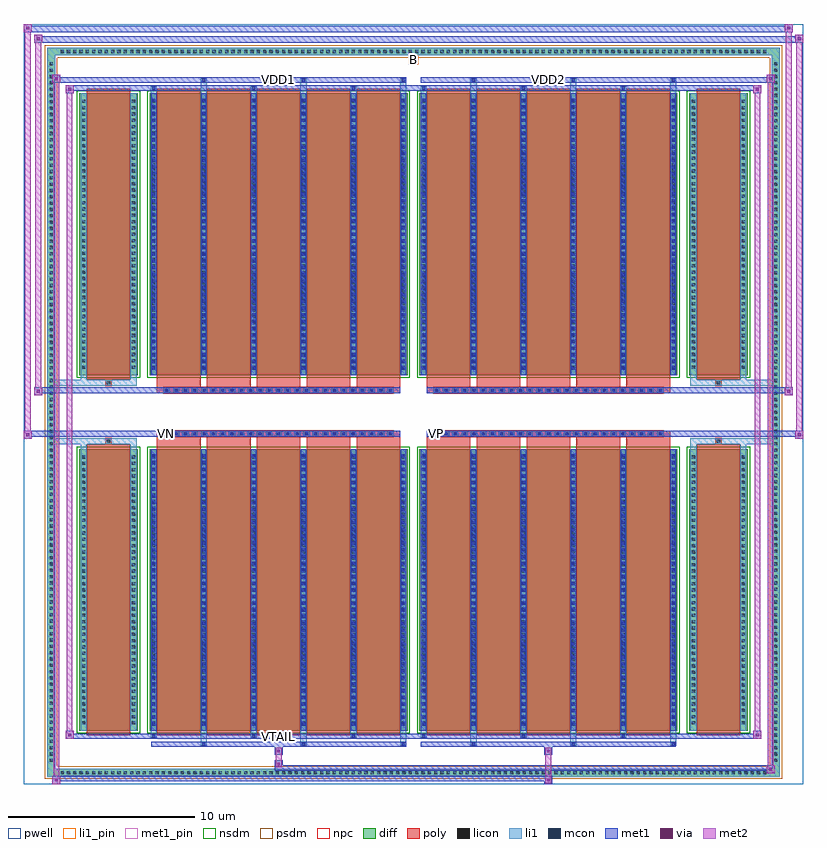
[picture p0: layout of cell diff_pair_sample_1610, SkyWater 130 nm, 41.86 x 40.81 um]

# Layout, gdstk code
import gdstk
lib = gdstk.Library(unit=1e-6, precision=5e-09)
def R(c, l, rs):  # rectangles x0, y0, x1, y1
    for r in rs: c.add(gdstk.rectangle(r[:2], r[2:], *l))
def A(c, l, x, y, w, h, nx, ny, dx, dy):  # array of equal rectangles
    R(c, l, [(x+i*dx, y+j*dy, x+i*dx+w, y+j*dy+h) for i in range(nx) for j in range(ny)])
def P(c, l, *ps):  # polygons
    for p in ps: c.add(gdstk.Polygon(p, *l))
pwell = (64, 44)
diff = (65, 20)
poly = (66, 20)
licon = (66, 44)
li1_pin = (67, 16)
li1 = (67, 20)
mcon = (67, 44)
met1_pin = (68, 16)
met1 = (68, 20)
via = (68, 44)
met2 = (69, 20)
nsdm = (93, 44)
psdm = (94, 20)
npc = (95, 20)

diff_pair_sample_1610 = lib.new_cell('diff_pair_sample_1610')
R(diff_pair_sample_1610, pwell, [(-20.93,-19.97,20.93,20.84), (-18.25,-18.16,-0.01,-0.8), (0.01,-18.16,18.25,-0.8), (-18.25,0.8,-0.01,18.16), (0.01,0.8,18.25,18.16)])
A(diff_pair_sample_1610, diff, -19.075, -19.57, 0.41, 0.41, 112, 2, 0.34, 38.73)
A(diff_pair_sample_1610, diff, -19.66, -18.905, 0.41, 0.41, 1, 111, 0, 0.34)
A(diff_pair_sample_1610, diff, 19.25, -18.905, 0.41, 0.41, 1, 111, 0, 0.34)
R(diff_pair_sample_1610, diff, [(-19.075,-19.57,19.075,-19.16), (-19.66,-18.905,-19.25,18.905), (19.25,-18.905,19.66,18.905), (-17.94,-17.115,-14.81,-1.985), (-14.17,-17.115,-0.32,-1.985), (0.32,-17.115,14.17,-1.985), (14.81,-17.115,17.94,-1.985), (-17.94,1.985,-14.81,17.115), (-14.17,1.985,-0.32,17.115), (0.32,1.985,14.17,17.115), (14.81,1.985,17.94,17.115), (-19.075,19.16,19.075,19.57)])
P(diff_pair_sample_1610, diff, [(19.66,19.57),(-19.66,19.57),(-19.66,-19.16),(-19.25,-19.16),(-19.25,19.16),(19.25,19.16),(19.25,-19.16),(-19.25,-19.16),(-19.66,-19.16),(-19.66,-19.57),(19.66,-19.57)])
A(diff_pair_sample_1610, poly, -13.78, -17.365, 2.35, 15.63, 5, 2, 2.68, 19.1)
A(diff_pair_sample_1610, poly, 0.71, -17.365, 2.35, 15.63, 5, 2, 2.68, 19.1)
A(diff_pair_sample_1610, poly, -13.78, -1.735, 2.35, 0.405, 5, 2, 2.68, 3.065)
A(diff_pair_sample_1610, poly, 0.71, -1.735, 2.35, 0.405, 5, 2, 2.68, 3.065)
A(diff_pair_sample_1610, poly, -13.41, -1.33, 0.33, 0.33, 25, 2, 0.5, 2.33)
A(diff_pair_sample_1610, poly, 1.08, -1.33, 0.33, 0.33, 25, 2, 0.5, 2.33)
R(diff_pair_sample_1610, poly, [(-17.55,-17.365,-15.2,-1.735), (15.2,-17.365,17.55,-1.735), (-16.54,-1.735,-16.21,-1.405), (-16.54,-1.735,-16.21,-1.405), (16.21,-1.735,16.54,-1.405), (16.21,-1.735,16.54,-1.405), (-13.78,-1.33,-0.71,-1), (0.71,-1.33,13.78,-1), (-13.78,1,-0.71,1.33), (0.71,1,13.78,1.33), (-16.54,1.405,-16.21,1.735), (-16.54,1.405,-16.21,1.735), (16.21,1.405,16.54,1.735), (16.21,1.405,16.54,1.735), (-17.55,1.735,-15.2,17.365), (15.2,1.735,17.55,17.365)])
A(diff_pair_sample_1610, licon, -18.955, -19.45, 0.17, 0.17, 112, 2, 0.34, 38.73)
A(diff_pair_sample_1610, licon, -19.54, -18.785, 0.17, 0.17, 1, 111, 0, 0.34)
A(diff_pair_sample_1610, licon, 19.37, -18.785, 0.17, 0.17, 1, 111, 0, 0.34)
A(diff_pair_sample_1610, licon, -17.8, -16.775, 0.17, 0.17, 1, 43, 0, 0.34)
A(diff_pair_sample_1610, licon, -15.12, -16.775, 0.17, 0.17, 1, 43, 0, 0.34)
A(diff_pair_sample_1610, licon, -14.03, -16.775, 0.17, 0.17, 6, 43, 2.68, 0.34)
A(diff_pair_sample_1610, licon, 0.46, -16.775, 0.17, 0.17, 6, 43, 2.68, 0.34)
A(diff_pair_sample_1610, licon, 14.95, -16.775, 0.17, 0.17, 1, 43, 0, 0.34)
A(diff_pair_sample_1610, licon, 17.63, -16.775, 0.17, 0.17, 1, 43, 0, 0.34)
A(diff_pair_sample_1610, licon, -13.33, -1.25, 0.17, 0.17, 25, 2, 0.5, 2.33)
A(diff_pair_sample_1610, licon, 1.16, -1.25, 0.17, 0.17, 25, 2, 0.5, 2.33)
A(diff_pair_sample_1610, licon, -17.8, 2.325, 0.17, 0.17, 1, 43, 0, 0.34)
A(diff_pair_sample_1610, licon, -15.12, 2.325, 0.17, 0.17, 1, 43, 0, 0.34)
A(diff_pair_sample_1610, licon, -14.03, 2.325, 0.17, 0.17, 6, 43, 2.68, 0.34)
A(diff_pair_sample_1610, licon, 0.46, 2.325, 0.17, 0.17, 6, 43, 2.68, 0.34)
A(diff_pair_sample_1610, licon, 14.95, 2.325, 0.17, 0.17, 1, 43, 0, 0.34)
A(diff_pair_sample_1610, licon, 17.63, 2.325, 0.17, 0.17, 1, 43, 0, 0.34)
R(diff_pair_sample_1610, licon, [(-16.46,-1.655,-16.29,-1.485), (16.29,-1.655,16.46,-1.485), (-16.46,1.485,-16.29,1.655), (16.29,1.485,16.46,1.655)])
R(diff_pair_sample_1610, li1_pin, [(-0.25,18.66,0.25,19.16)])
A(diff_pair_sample_1610, li1, -19.035, -19.53, 0.33, 0.33, 112, 2, 0.34, 38.73)
A(diff_pair_sample_1610, li1, -19.62, -18.865, 0.33, 0.33, 1, 111, 0, 0.34)
A(diff_pair_sample_1610, li1, 19.29, -18.865, 0.33, 0.33, 1, 111, 0, 0.34)
A(diff_pair_sample_1610, li1, -11.43, -17.92, 0.33, 0.805, 3, 2, 5.36, 35.035)
A(diff_pair_sample_1610, li1, -11.35, -17.92, 0.17, 0.17, 3, 2, 5.36, 35.67)
A(diff_pair_sample_1610, li1, 3.06, -17.92, 0.33, 0.805, 3, 2, 5.36, 35.035)
A(diff_pair_sample_1610, li1, 3.14, -17.92, 0.17, 0.17, 3, 2, 5.36, 35.67)
A(diff_pair_sample_1610, li1, -14.11, -17.49, 0.33, 0.375, 3, 2, 5.36, 34.605)
A(diff_pair_sample_1610, li1, -14.03, -17.49, 0.17, 0.17, 3, 2, 5.36, 34.81)
A(diff_pair_sample_1610, li1, 0.38, -17.49, 0.33, 0.375, 3, 2, 5.36, 34.605)
A(diff_pair_sample_1610, li1, 0.46, -17.49, 0.17, 0.17, 3, 2, 5.36, 34.81)
A(diff_pair_sample_1610, li1, -14.11, -17.115, 0.33, 15.13, 6, 2, 2.68, 19.1)
A(diff_pair_sample_1610, li1, 0.38, -17.115, 0.33, 15.13, 6, 2, 2.68, 19.1)
A(diff_pair_sample_1610, li1, -17.88, -16.855, 0.33, 0.33, 1, 43, 0, 0.34)
A(diff_pair_sample_1610, li1, -15.2, -16.855, 0.33, 0.33, 1, 43, 0, 0.34)
A(diff_pair_sample_1610, li1, -14.11, -16.855, 0.33, 0.33, 6, 43, 2.68, 0.34)
A(diff_pair_sample_1610, li1, 0.38, -16.855, 0.33, 0.33, 6, 43, 2.68, 0.34)
A(diff_pair_sample_1610, li1, 14.87, -16.855, 0.33, 0.33, 1, 43, 0, 0.34)
A(diff_pair_sample_1610, li1, 17.55, -16.855, 0.33, 0.33, 1, 43, 0, 0.34)
A(diff_pair_sample_1610, li1, -14.03, -16.835, 0.17, 0.17, 6, 41, 2.68, 0.36)
A(diff_pair_sample_1610, li1, -14.03, -16.835, 0.17, 14.57, 6, 2, 2.68, 19.1)
A(diff_pair_sample_1610, li1, 0.46, -16.835, 0.17, 0.17, 6, 41, 2.68, 0.36)
A(diff_pair_sample_1610, li1, 0.46, -16.835, 0.17, 14.57, 6, 2, 2.68, 19.1)
A(diff_pair_sample_1610, li1, -13.41, -1.33, 0.33, 0.33, 25, 2, 0.5, 2.33)
A(diff_pair_sample_1610, li1, 1.08, -1.33, 0.33, 0.33, 25, 2, 0.5, 2.33)
A(diff_pair_sample_1610, li1, -17.88, 2.245, 0.33, 0.33, 1, 43, 0, 0.34)
A(diff_pair_sample_1610, li1, -15.2, 2.245, 0.33, 0.33, 1, 43, 0, 0.34)
A(diff_pair_sample_1610, li1, -14.11, 2.245, 0.33, 0.33, 6, 43, 2.68, 0.34)
A(diff_pair_sample_1610, li1, 0.38, 2.245, 0.33, 0.33, 6, 43, 2.68, 0.34)
A(diff_pair_sample_1610, li1, 14.87, 2.245, 0.33, 0.33, 1, 43, 0, 0.34)
A(diff_pair_sample_1610, li1, 17.55, 2.245, 0.33, 0.33, 1, 43, 0, 0.34)
A(diff_pair_sample_1610, li1, -14.03, 2.265, 0.17, 0.17, 6, 41, 2.68, 0.36)
A(diff_pair_sample_1610, li1, 0.46, 2.265, 0.17, 0.17, 6, 41, 2.68, 0.36)
R(diff_pair_sample_1610, li1, [(-19.66,-19.57,-19.25,-19.16), (-19.66,-19.57,-19.25,-19.16), (-19.25,-19.57,19.25,-19.16), (19.25,-19.57,19.66,-19.16), (19.25,-19.57,19.66,-19.16), (-19.66,-19.16,-19.25,19.16), (19.25,-19.16,19.66,19.16), (-17.88,-17.115,-17.55,-1.985), (-15.2,-17.115,-14.87,-1.985), (14.87,-17.115,15.2,-1.985), (17.55,-17.115,17.88,-1.985), (-17.88,-1.985,-17.55,-1.405), (-15.2,-1.985,-14.87,-1.405), (14.87,-1.985,15.2,-1.405), (17.55,-1.985,17.88,-1.405), (-19.66,-1.735,-16.54,-1.405), (-17.88,-1.735,-16.54,-1.405), (-16.54,-1.735,-16.21,-1.405), (-16.21,-1.735,-14.87,-1.405), (14.87,-1.735,16.21,-1.405), (16.21,-1.735,16.54,-1.405), (16.21,-1.735,19.66,-1.405), (16.54,-1.735,17.88,-1.405), (-19.66,1.405,-16.54,1.735), (-17.88,1.405,-16.54,1.735), (-17.88,1.405,-17.55,1.985), (-16.54,1.405,-16.21,1.735), (-16.21,1.405,-14.87,1.735), (-15.2,1.405,-14.87,1.985), (14.87,1.405,16.21,1.735), (14.87,1.405,15.2,1.985), (16.21,1.405,16.54,1.735), (16.21,1.405,19.66,1.735), (16.54,1.405,17.88,1.735), (17.55,1.405,17.88,1.985), (-17.88,1.985,-17.55,17.115), (-15.2,1.985,-14.87,17.115), (14.87,1.985,15.2,17.115), (17.55,1.985,17.88,17.115), (-19.66,19.16,-19.25,19.57), (-19.66,19.16,-19.25,19.57), (-19.25,19.16,19.25,19.57), (19.25,19.16,19.66,19.57), (19.25,19.16,19.66,19.57)])
A(diff_pair_sample_1610, mcon, -11.35, -17.92, 0.17, 0.17, 3, 2, 5.36, 35.67)
A(diff_pair_sample_1610, mcon, 3.14, -17.92, 0.17, 0.17, 3, 2, 5.36, 35.67)
A(diff_pair_sample_1610, mcon, -14.03, -17.49, 0.17, 0.17, 3, 2, 5.36, 34.81)
A(diff_pair_sample_1610, mcon, 0.46, -17.49, 0.17, 0.17, 3, 2, 5.36, 34.81)
A(diff_pair_sample_1610, mcon, -14.03, -16.835, 0.17, 0.17, 6, 41, 2.68, 0.36)
A(diff_pair_sample_1610, mcon, 0.46, -16.835, 0.17, 0.17, 6, 41, 2.68, 0.36)
A(diff_pair_sample_1610, mcon, -13.33, -1.25, 0.17, 0.17, 25, 2, 0.5, 2.33)
A(diff_pair_sample_1610, mcon, 1.16, -1.25, 0.17, 0.17, 25, 2, 0.5, 2.33)
A(diff_pair_sample_1610, mcon, -14.03, 2.265, 0.17, 0.17, 6, 41, 2.68, 0.36)
A(diff_pair_sample_1610, mcon, 0.46, 2.265, 0.17, 0.17, 6, 41, 2.68, 0.36)
R(diff_pair_sample_1610, met1_pin, [(-7.38,-17.53,-7.11,-17.26), (-13.38,-1.29,-13.11,-1.02), (1.11,-1.29,1.38,-1.02), (-7.38,17.71,-7.11,17.98), (7.11,17.71,7.38,17.98)])
A(diff_pair_sample_1610, met1, -11.41, -17.98, 0.29, 0.29, 3, 2, 5.36, 35.67)
A(diff_pair_sample_1610, met1, 3.08, -17.98, 0.29, 0.29, 3, 2, 5.36, 35.67)
A(diff_pair_sample_1610, met1, -14.09, -17.55, 0.29, 0.29, 3, 2, 5.36, 34.81)
A(diff_pair_sample_1610, met1, 0.4, -17.55, 0.29, 0.29, 3, 2, 5.36, 34.81)
A(diff_pair_sample_1610, met1, -14.09, -17.115, 0.29, 15.13, 6, 2, 2.68, 19.1)
A(diff_pair_sample_1610, met1, 0.4, -17.115, 0.29, 15.13, 6, 2, 2.68, 19.1)
A(diff_pair_sample_1610, met1, -14.09, -16.895, 0.29, 0.29, 6, 41, 2.68, 0.36)
A(diff_pair_sample_1610, met1, 0.4, -16.895, 0.29, 0.29, 6, 41, 2.68, 0.36)
A(diff_pair_sample_1610, met1, -13.39, -1.31, 0.29, 0.29, 25, 2, 0.5, 2.33)
A(diff_pair_sample_1610, met1, 1.1, -1.31, 0.29, 0.29, 25, 2, 0.5, 2.33)
A(diff_pair_sample_1610, met1, -14.09, 2.205, 0.29, 0.29, 6, 41, 2.68, 0.36)
A(diff_pair_sample_1610, met1, 0.4, 2.205, 0.29, 0.29, 6, 41, 2.68, 0.36)
R(diff_pair_sample_1610, met1, [(-19.39,-19.97,-18.96,-19.54), (7.03,-19.97,7.46,-19.54), (-19.39,-19.83,7.46,-19.54), (18.96,-19.4,19.39,-18.97), (-7.46,-19.26,19.39,-18.97), (-7.46,-19.12,-7.03,-18.69), (-7.46,-18.41,-7.03,-17.98), (7.03,-18.41,7.46,-17.98), (-14.09,-17.98,-0.4,-17.69), (0.4,-17.98,14.09,-17.69), (-18.68,-17.55,-18.25,-17.12), (-18.68,-17.55,-14.09,-17.26), (-14.09,-17.55,-0.4,-17.26), (-0.4,-17.55,0.4,-17.26), (0.4,-17.55,14.09,-17.26), (14.09,-17.55,18.68,-17.26), (18.25,-17.55,18.68,-17.12), (-20.93,-1.43,-20.5,-1), (20.5,-1.43,20.93,-1), (-20.93,-1.33,-0.71,-1), (-13.78,-1.33,-0.71,-1), (0.71,-1.33,13.78,-1), (0.71,-1.33,20.93,-1), (-20.36,0.9,-19.93,1.33), (19.93,0.9,20.36,1.33), (-20.36,1,-13.78,1.33), (-13.78,1,-0.71,1.33), (0.71,1,13.78,1.33), (13.78,1,20.36,1.33), (-18.68,17.12,-18.25,17.55), (18.25,17.12,18.68,17.55), (-18.68,17.26,-14.09,17.55), (-14.09,17.26,-0.4,17.55), (-0.4,17.26,0.4,17.55), (0.4,17.26,14.09,17.55), (14.09,17.26,18.68,17.55), (-19.39,17.69,-18.96,18.12), (-19.39,17.69,-14.09,17.98), (-14.09,17.69,-0.4,17.98), (0.4,17.69,14.09,17.98), (14.09,17.69,19.39,17.98), (18.96,17.69,19.39,18.12), (-20.36,19.84,-19.93,20.27), (-20.36,19.84,-18.25,20.17), (-18.25,19.84,18.25,20.17), (18.25,19.84,20.93,20.17), (20.5,19.84,20.93,20.27), (-20.93,20.41,-20.5,20.84), (-20.93,20.41,-18.25,20.74), (-18.25,20.41,18.25,20.74), (18.25,20.41,20.36,20.74), (19.93,20.41,20.36,20.84)])
R(diff_pair_sample_1610, via, [(-19.25,-19.83,-19.1,-19.68), (7.17,-19.83,7.32,-19.68), (19.1,-19.26,19.25,-19.11), (-7.32,-18.98,-7.17,-18.83), (-7.32,-18.27,-7.17,-18.12), (7.17,-18.27,7.32,-18.12), (-18.54,-17.41,-18.39,-17.26), (18.39,-17.41,18.54,-17.26), (-20.79,-1.29,-20.64,-1.14), (20.64,-1.29,20.79,-1.14), (-20.22,1.04,-20.07,1.19), (20.07,1.04,20.22,1.19), (-18.54,17.26,-18.39,17.41), (18.39,17.26,18.54,17.41), (-19.25,17.83,-19.1,17.98), (19.1,17.83,19.25,17.98), (-20.22,19.98,-20.07,20.13), (20.64,19.98,20.79,20.13), (-20.79,20.55,-20.64,20.7), (20.07,20.55,20.22,20.7)])
R(diff_pair_sample_1610, met2, [(-19.39,-19.97,-18.96,-19.54), (-19.32,-19.97,-19.03,18.12), (-19.03,-19.97,-18.96,-19.54), (-19.34,-19.92,-19.01,-19.59), (7.08,-19.92,7.41,-19.59), (7.08,-19.59,7.41,-18.36), (18.96,-19.4,19.39,-18.97), (19.03,-19.4,19.32,18.12), (19.32,-19.4,19.39,-18.97), (19.01,-19.35,19.34,-19.02), (-7.41,-19.07,-7.08,-18.74), (-7.41,-18.74,-7.08,-18.36), (-7.41,-18.36,-7.08,-18.03), (7.08,-18.36,7.41,-18.03), (-18.68,-17.55,-18.25,-17.12), (-18.61,-17.55,-18.32,17.55), (-18.32,-17.55,-18.25,-17.12), (18.25,-17.55,18.68,-17.12), (18.32,-17.55,18.61,17.55), (18.61,-17.55,18.68,-17.12), (-18.63,-17.5,-18.3,-17.17), (18.3,-17.5,18.63,-17.17), (-20.93,-1.43,-20.5,-1), (-20.88,-1.43,-20.55,20.84), (-20.55,-1.43,-20.5,-1), (20.5,-1.43,20.93,-1), (20.55,-1.43,20.88,20.27), (20.88,-1.43,20.93,-1), (-20.88,-1.38,-20.55,-1.05), (20.55,-1.38,20.88,-1.05), (-20.36,0.9,-19.93,1.33), (-20.31,0.9,-19.98,20.27), (-19.98,0.9,-19.93,1.33), (19.93,0.9,20.36,1.33), (19.98,0.9,20.31,20.84), (20.31,0.9,20.36,1.33), (-20.31,0.95,-19.98,1.28), (19.98,0.95,20.31,1.28), (-18.68,17.12,-18.25,17.55), (-18.32,17.12,-18.25,17.55), (18.25,17.12,18.68,17.55), (18.61,17.12,18.68,17.55), (-18.63,17.17,-18.3,17.5), (18.3,17.17,18.63,17.5), (-19.39,17.69,-18.96,18.12), (-19.03,17.69,-18.96,18.12), (18.96,17.69,19.39,18.12), (19.32,17.69,19.39,18.12), (-19.34,17.74,-19.01,18.07), (19.01,17.74,19.34,18.07), (-20.36,19.84,-19.93,20.27), (-19.98,19.84,-19.93,20.27), (20.5,19.84,20.93,20.27), (20.88,19.84,20.93,20.27), (-20.31,19.89,-19.98,20.22), (20.55,19.89,20.88,20.22), (-20.93,20.41,-20.5,20.84), (-20.55,20.41,-20.5,20.84), (19.93,20.41,20.36,20.84), (20.31,20.41,20.36,20.84), (-20.88,20.46,-20.55,20.79), (19.98,20.46,20.31,20.79)])
R(diff_pair_sample_1610, nsdm, [(-18.07,-17.245,-14.68,-1.855), (-14.3,-17.245,-0.19,-1.855), (0.19,-17.245,14.3,-1.855), (14.68,-17.245,18.07,-1.855), (-18.07,1.855,-14.68,17.245), (-14.3,1.855,-0.19,17.245), (0.19,1.855,14.3,17.245), (14.68,1.855,18.07,17.245)])
P(diff_pair_sample_1610, psdm, [(19.79,19.7),(-19.79,19.7),(-19.79,-19.03),(-19.12,-19.03),(-19.12,19.03),(19.12,19.03),(19.12,-19.03),(-19.12,-19.03),(-19.79,-19.03),(-19.79,-19.7),(19.79,-19.7)])
A(diff_pair_sample_1610, npc, -13.43, -1.35, 0.37, 0.37, 25, 2, 0.5, 2.33)
A(diff_pair_sample_1610, npc, 1.06, -1.35, 0.37, 0.37, 25, 2, 0.5, 2.33)
R(diff_pair_sample_1610, npc, [(-16.56,-1.755,-16.19,-1.385), (16.19,-1.755,16.56,-1.385), (-13.43,-1.35,-12.56,-0.98), (-13.43,-1.35,-12.56,-0.98), (-12.93,-1.35,-12.06,-0.98), (-12.93,-1.35,-12.06,-0.98), (-12.43,-1.35,-11.56,-0.98), (-12.43,-1.35,-11.56,-0.98), (-11.93,-1.35,-11.06,-0.98), (-11.93,-1.35,-11.06,-0.98), (-11.43,-1.35,-10.56,-0.98), (-11.43,-1.35,-10.56,-0.98), (-10.93,-1.35,-10.06,-0.98), (-10.93,-1.35,-10.06,-0.98), (-10.43,-1.35,-9.56,-0.98), (-10.43,-1.35,-9.56,-0.98), (-9.93,-1.35,-9.06,-0.98), (-9.93,-1.35,-9.06,-0.98), (-9.43,-1.35,-8.56,-0.98), (-9.43,-1.35,-8.56,-0.98), (-8.93,-1.35,-8.06,-0.98), (-8.93,-1.35,-8.06,-0.98), (-8.43,-1.35,-7.56,-0.98), (-8.43,-1.35,-7.56,-0.98), (-7.93,-1.35,-7.06,-0.98), (-7.93,-1.35,-7.06,-0.98), (-7.43,-1.35,-6.56,-0.98), (-7.43,-1.35,-6.56,-0.98), (-6.93,-1.35,-6.06,-0.98), (-6.93,-1.35,-6.06,-0.98), (-6.43,-1.35,-5.56,-0.98), (-6.43,-1.35,-5.56,-0.98), (-5.93,-1.35,-5.06,-0.98), (-5.93,-1.35,-5.06,-0.98), (-5.43,-1.35,-4.56,-0.98), (-5.43,-1.35,-4.56,-0.98), (-4.93,-1.35,-4.06,-0.98), (-4.93,-1.35,-4.06,-0.98), (-4.43,-1.35,-3.56,-0.98), (-4.43,-1.35,-3.56,-0.98), (-3.93,-1.35,-3.06,-0.98), (-3.93,-1.35,-3.06,-0.98), (-3.43,-1.35,-2.56,-0.98), (-3.43,-1.35,-2.56,-0.98), (-2.93,-1.35,-2.06,-0.98), (-2.93,-1.35,-2.06,-0.98), (-2.43,-1.35,-1.56,-0.98), (-2.43,-1.35,-1.56,-0.98), (-1.93,-1.35,-1.06,-0.98), (-1.93,-1.35,-1.06,-0.98), (1.06,-1.35,1.93,-0.98), (1.06,-1.35,1.93,-0.98), (1.56,-1.35,2.43,-0.98), (1.56,-1.35,2.43,-0.98), (2.06,-1.35,2.93,-0.98), (2.06,-1.35,2.93,-0.98), (2.56,-1.35,3.43,-0.98), (2.56,-1.35,3.43,-0.98), (3.06,-1.35,3.93,-0.98), (3.06,-1.35,3.93,-0.98), (3.56,-1.35,4.43,-0.98), (3.56,-1.35,4.43,-0.98), (4.06,-1.35,4.93,-0.98), (4.06,-1.35,4.93,-0.98), (4.56,-1.35,5.43,-0.98), (4.56,-1.35,5.43,-0.98), (5.06,-1.35,5.93,-0.98), (5.06,-1.35,5.93,-0.98), (5.56,-1.35,6.43,-0.98), (5.56,-1.35,6.43,-0.98), (6.06,-1.35,6.93,-0.98), (6.06,-1.35,6.93,-0.98), (6.56,-1.35,7.43,-0.98), (6.56,-1.35,7.43,-0.98), (7.06,-1.35,7.93,-0.98), (7.06,-1.35,7.93,-0.98), (7.56,-1.35,8.43,-0.98), (7.56,-1.35,8.43,-0.98), (8.06,-1.35,8.93,-0.98), (8.06,-1.35,8.93,-0.98), (8.56,-1.35,9.43,-0.98), (8.56,-1.35,9.43,-0.98), (9.06,-1.35,9.93,-0.98), (9.06,-1.35,9.93,-0.98), (9.56,-1.35,10.43,-0.98), (9.56,-1.35,10.43,-0.98), (10.06,-1.35,10.93,-0.98), (10.06,-1.35,10.93,-0.98), (10.56,-1.35,11.43,-0.98), (10.56,-1.35,11.43,-0.98), (11.06,-1.35,11.93,-0.98), (11.06,-1.35,11.93,-0.98), (11.56,-1.35,12.43,-0.98), (11.56,-1.35,12.43,-0.98), (12.06,-1.35,12.93,-0.98), (12.06,-1.35,12.93,-0.98), (12.56,-1.35,13.43,-0.98), (12.56,-1.35,13.43,-0.98), (-13.43,0.98,-12.56,1.35), (-13.43,0.98,-12.56,1.35), (-12.93,0.98,-12.06,1.35), (-12.93,0.98,-12.06,1.35), (-12.43,0.98,-11.56,1.35), (-12.43,0.98,-11.56,1.35), (-11.93,0.98,-11.06,1.35), (-11.93,0.98,-11.06,1.35), (-11.43,0.98,-10.56,1.35), (-11.43,0.98,-10.56,1.35), (-10.93,0.98,-10.06,1.35), (-10.93,0.98,-10.06,1.35), (-10.43,0.98,-9.56,1.35), (-10.43,0.98,-9.56,1.35), (-9.93,0.98,-9.06,1.35), (-9.93,0.98,-9.06,1.35), (-9.43,0.98,-8.56,1.35), (-9.43,0.98,-8.56,1.35), (-8.93,0.98,-8.06,1.35), (-8.93,0.98,-8.06,1.35), (-8.43,0.98,-7.56,1.35), (-8.43,0.98,-7.56,1.35), (-7.93,0.98,-7.06,1.35), (-7.93,0.98,-7.06,1.35), (-7.43,0.98,-6.56,1.35), (-7.43,0.98,-6.56,1.35), (-6.93,0.98,-6.06,1.35), (-6.93,0.98,-6.06,1.35), (-6.43,0.98,-5.56,1.35), (-6.43,0.98,-5.56,1.35), (-5.93,0.98,-5.06,1.35), (-5.93,0.98,-5.06,1.35), (-5.43,0.98,-4.56,1.35), (-5.43,0.98,-4.56,1.35), (-4.93,0.98,-4.06,1.35), (-4.93,0.98,-4.06,1.35), (-4.43,0.98,-3.56,1.35), (-4.43,0.98,-3.56,1.35), (-3.93,0.98,-3.06,1.35), (-3.93,0.98,-3.06,1.35), (-3.43,0.98,-2.56,1.35), (-3.43,0.98,-2.56,1.35), (-2.93,0.98,-2.06,1.35), (-2.93,0.98,-2.06,1.35), (-2.43,0.98,-1.56,1.35), (-2.43,0.98,-1.56,1.35), (-1.93,0.98,-1.06,1.35), (-1.93,0.98,-1.06,1.35), (1.06,0.98,1.93,1.35), (1.06,0.98,1.93,1.35), (1.56,0.98,2.43,1.35), (1.56,0.98,2.43,1.35), (2.06,0.98,2.93,1.35), (2.06,0.98,2.93,1.35), (2.56,0.98,3.43,1.35), (2.56,0.98,3.43,1.35), (3.06,0.98,3.93,1.35), (3.06,0.98,3.93,1.35), (3.56,0.98,4.43,1.35), (3.56,0.98,4.43,1.35), (4.06,0.98,4.93,1.35), (4.06,0.98,4.93,1.35), (4.56,0.98,5.43,1.35), (4.56,0.98,5.43,1.35), (5.06,0.98,5.93,1.35), (5.06,0.98,5.93,1.35), (5.56,0.98,6.43,1.35), (5.56,0.98,6.43,1.35), (6.06,0.98,6.93,1.35), (6.06,0.98,6.93,1.35), (6.56,0.98,7.43,1.35), (6.56,0.98,7.43,1.35), (7.06,0.98,7.93,1.35), (7.06,0.98,7.93,1.35), (7.56,0.98,8.43,1.35), (7.56,0.98,8.43,1.35), (8.06,0.98,8.93,1.35), (8.06,0.98,8.93,1.35), (8.56,0.98,9.43,1.35), (8.56,0.98,9.43,1.35), (9.06,0.98,9.93,1.35), (9.06,0.98,9.93,1.35), (9.56,0.98,10.43,1.35), (9.56,0.98,10.43,1.35), (10.06,0.98,10.93,1.35), (10.06,0.98,10.93,1.35), (10.56,0.98,11.43,1.35), (10.56,0.98,11.43,1.35), (11.06,0.98,11.93,1.35), (11.06,0.98,11.93,1.35), (11.56,0.98,12.43,1.35), (11.56,0.98,12.43,1.35), (12.06,0.98,12.93,1.35), (12.06,0.98,12.93,1.35), (12.56,0.98,13.43,1.35), (12.56,0.98,13.43,1.35), (-16.56,1.385,-16.19,1.755), (16.19,1.385,16.56,1.755)])
diff_pair_sample_1610.add(gdstk.Label('VTAIL', (-7.245,-17.395), layer=68, texttype=5))
diff_pair_sample_1610.add(gdstk.Label('VN', (-13.245,-1.155), layer=68, texttype=5))
diff_pair_sample_1610.add(gdstk.Label('VP', (1.245,-1.155), layer=68, texttype=5))
diff_pair_sample_1610.add(gdstk.Label('B', (0,18.91), layer=67, texttype=5))
diff_pair_sample_1610.add(gdstk.Label('VDD2', (7.245,17.845), layer=68, texttype=5))
diff_pair_sample_1610.add(gdstk.Label('VDD1', (-7.245,17.845), layer=68, texttype=5))

lib.write_gds('diff_pair_sample_1610.gds')
